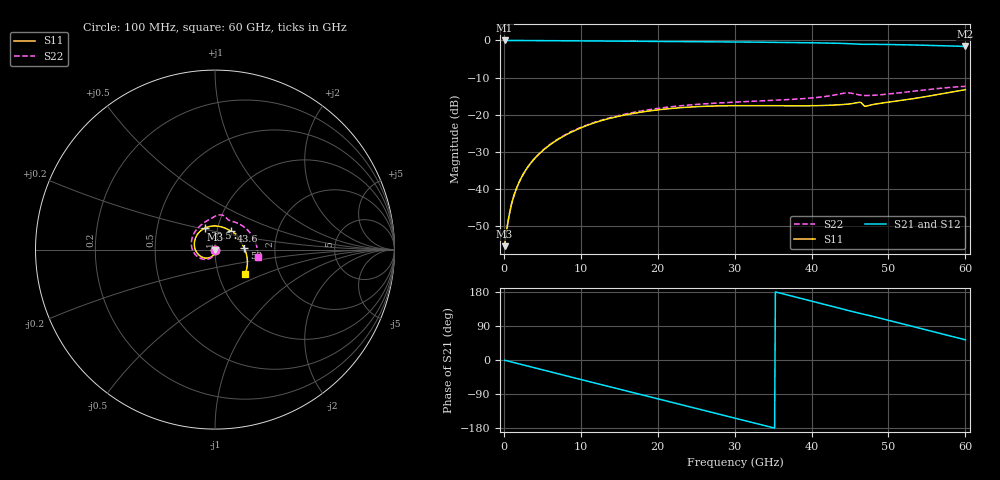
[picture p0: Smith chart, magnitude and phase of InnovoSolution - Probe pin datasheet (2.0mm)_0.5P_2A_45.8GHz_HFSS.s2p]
! Touchstone file from project hfss-D_ZX-13132(AW1035NYBRXX)_R1.2.0
! Exported from HFSS 2017.2.0
# GHZ S DB R 50.000000
! Terminal data exported
! Port[1] = jig_sng_1
! Port[2] = jig_sng_2
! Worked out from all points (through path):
!   600 points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, 100 MHz to 60 GHz, reference 50 ohm
!   highest |S21| = -0.01 dB at 100 MHz (marker M1); lowest = -1.6 dB at 60 GHz (marker M2)
!   group delay of S21, straight-line fit = 14.2 ps
!   lowest |S11| = -55.4 dB at 100 MHz (marker M3), VSWR 1.00, Z = 50.2 - j0.0158 ohm
!   |S11| at or under -10 dB: start of sweep to end of sweep
!   |S22| runs from -55.4 to -12.4 dB; largest |S21 - S12| = 2.1e-14
!   S11 on the Smith chart (normalised r, x): 100 MHz: 1.00, -0.00; 30.5 GHz: 0.87, +0.21; 43.6 GHz: 1.16, +0.25; 53 GHz: 1.39, +0.03; 60 GHz: 1.34, -0.39
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0.1  -55.42 -5.3  -0.01 -0.5  -0.01 -0.5  -55.42 -5.2
0.8  -45.96 -67.6  -0.02 -4.2  -0.02 -4.2  -45.95 -67.0
1.3  -41.89 -78.2  -0.02 -6.8  -0.02 -6.8  -41.91 -77.3
2  -38.11 -86.1  -0.03 -10.4  -0.03 -10.4  -38.15 -84.6
3  -34.44 -94.0  -0.04 -15.6  -0.04 -15.6  -34.45 -91.7
4.3  -31.16 -102.4  -0.05 -22.3  -0.05 -22.3  -31.10 -99.2
5.9  -28.27 -111.7  -0.07 -30.5  -0.07 -30.5  -28.17 -107.5
10.1  -23.50 -135.0  -0.13 -51.9  -0.13 -51.9  -23.32 -128.1
15.2  -20.31 -163.5  -0.20 -77.8  -0.20 -77.8  -20.11 -152.4
20.1  -18.70 170.2  -0.26 -102.7  -0.26 -102.7  -18.29 -175.1
24.8  -17.88 145.1  -0.33 -126.6  -0.33 -126.6  -17.28 164.3
30.1  -17.57 117.2  -0.42 -153.6  -0.42 -153.6  -16.61 142.6
30.5  -17.56 115.1  -0.42 -155.7  -0.42 -155.7  -16.57 141.0
35.3  -17.60 90.6  -0.52 179.7  -0.52 179.7  -16.12 122.3
40.1  -17.59 66.9  -0.65 155.0  -0.65 155.0  -15.49 103.6
43.6  -17.34 49.9  -0.78 136.6  -0.78 136.6  -14.45 87.5
46.2  -16.67 33.7  -1.03 123.5  -1.03 123.5  -14.68 68.6
47.1  -17.72 29.9  -1.05 119.3  -1.05 119.3  -14.84 65.6
50.1  -16.61 18.3  -1.10 104.2  -1.10 104.2  -14.42 53.2
53  -15.76 3.2  -1.22 89.3  -1.22 89.3  -13.75 37.6
56.3  -14.62 -15.4  -1.39 72.3  -1.39 72.3  -12.99 16.9
60  -13.27 -39.2  -1.63 53.2  -1.63 53.2  -12.37 -9.6
